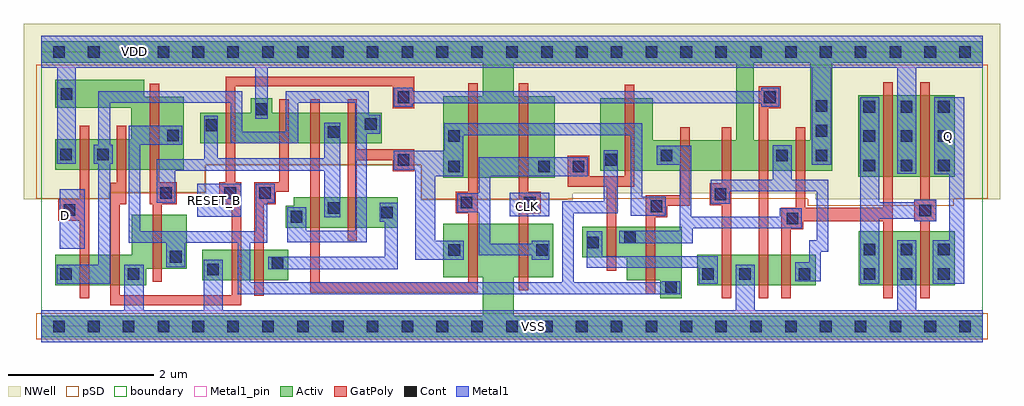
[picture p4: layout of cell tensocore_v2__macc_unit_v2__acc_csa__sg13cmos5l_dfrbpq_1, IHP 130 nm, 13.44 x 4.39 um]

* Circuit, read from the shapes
.subckt tensocore_v2__macc_unit_v2__acc_csa__sg13cmos5l_dfrbpq_1 CLK D Q RESET_B VDD VSS
XM1 n1 D n2 VSS sg13_lv_nmos w=0.42u l=0.13u
XM2 VSS RESET_B n1 VSS sg13_lv_nmos w=0.42u l=0.13u
XM3 n3 n4 VSS VSS sg13_lv_nmos w=0.74u l=0.13u
XM4 n5 RESET_B VSS VSS sg13_lv_nmos w=0.42u l=0.13u
XM5 n6 n3 n5 VSS sg13_lv_nmos w=0.42u l=0.13u
XM6 n4 n7 n2 VSS sg13_lv_nmos w=0.42u l=0.13u
XM7 n6 n8 n4 VSS sg13_lv_nmos w=0.42u l=0.13u
XM8 VSS n7 n8 VSS sg13_lv_nmos w=0.74u l=0.13u
XM9 n7 CLK VSS VSS sg13_lv_nmos w=0.74u l=0.13u
XM10 n9 n7 n10 VSS sg13_lv_nmos w=0.42u l=0.13u
XM11 n3 n8 n9 VSS sg13_lv_nmos w=0.74u l=0.13u
XM12 VSS n11 n10 VSS sg13_lv_nmos w=0.42u l=0.13u
XM13 n12 RESET_B VSS VSS sg13_lv_nmos w=0.42u l=0.13u
XM14 n11 n9 n12 VSS sg13_lv_nmos w=0.42u l=0.13u
XM15 VSS n9 n13 VSS sg13_lv_nmos w=0.74u l=0.13u
XM16 Q n13 VSS VSS sg13_lv_nmos w=0.74u l=0.13u
XM17 n2 D VDD VDD sg13_lv_pmos w=0.42u l=0.13u
XM18 VDD RESET_B n2 VDD sg13_lv_pmos w=0.42u l=0.13u
XM19 n3 n4 VDD VDD sg13_lv_pmos w=1u l=0.13u
XM20 VDD RESET_B n4 VDD sg13_lv_pmos w=0.42u l=0.13u
XM21 n14 n3 VDD VDD sg13_lv_pmos w=0.42u l=0.13u
XM22 n4 n7 n14 VDD sg13_lv_pmos w=0.42u l=0.13u
XM23 n2 n8 n4 VDD sg13_lv_pmos w=0.42u l=0.13u
XM24 VDD n7 n8 VDD sg13_lv_pmos w=1.12u l=0.13u
XM25 n7 CLK VDD VDD sg13_lv_pmos w=1.12u l=0.13u
XM26 n9 n7 n3 VDD sg13_lv_pmos w=1u l=0.13u
XM27 n15 n8 n9 VDD sg13_lv_pmos w=0.42u l=0.13u
XM28 VDD n11 n15 VDD sg13_lv_pmos w=0.42u l=0.13u
XM29 n11 RESET_B VDD VDD sg13_lv_pmos w=0.42u l=0.13u
XM30 VDD n9 n11 VDD sg13_lv_pmos w=0.42u l=0.13u
XM31 VDD n9 n13 VDD sg13_lv_pmos w=1.12u l=0.13u
XM32 Q n13 VDD VDD sg13_lv_pmos w=1.12u l=0.13u
.ends

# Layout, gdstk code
import gdstk
lib = gdstk.Library(unit=1e-6, precision=1e-09)
def R(c, l, rs):  # rectangles x0, y0, x1, y1
    for r in rs: c.add(gdstk.rectangle(r[:2], r[2:], *l))
def A(c, l, x, y, w, h, nx, ny, dx, dy):  # array of equal rectangles
    R(c, l, [(x+i*dx, y+j*dy, x+i*dx+w, y+j*dy+h) for i in range(nx) for j in range(ny)])
def P(c, l, *ps):  # polygons
    for p in ps: c.add(gdstk.Polygon(p, *l))
Activ = (1, 0)
GatPoly = (5, 0)
Cont = (6, 0)
Metal1 = (8, 0)
Metal1_pin = (8, 2)
pSD = (14, 0)
NWell = (31, 0)
boundary = (189, 4)

tensocore_v2__macc_unit_ = lib.new_cell('tensocore_v2__macc_unit_v2__acc_csa__sg13cmos5l_dfrbpq_1')
R(tensocore_v2__macc_unit_, Activ, [(9.03,0.57,10.66,0.99), (11.255,0.57,12.575,1.31), (2.215,0.635,3.4,1.055), (11.25,2.06,12.575,3.18), (0,3.63,12.96,3.93)])
P(tensocore_v2__macc_unit_, Activ, [(0.19,2.16),(0.19,2.58),(1.24,2.58),(1.24,3.01),(0.19,3.01),(0.19,3.395),(1.415,3.395),(1.415,3.16),(1.96,3.16),(1.96,2.16)],
  [(0.19,0.57),(0.19,0.99),(1.245,0.99),(1.245,1.535),(2,1.535),(2,0.795),(1.445,0.795),(1.445,0.57)],
  [(2.19,2.525),(2.19,2.945),(2.88,2.945),(2.88,3.14),(3.18,3.14),(3.18,2.945),(4.685,2.945),(4.685,2.525)],
  [(3.365,1.36),(3.365,1.66),(3.475,1.66),(3.475,1.78),(4.91,1.78),(4.91,1.36)],
  [(5.53,2.05),(5.53,3.17),(6.075,3.17),(6.075,3.63),(6.505,3.63),(6.505,3.17),(7.07,3.17),(7.07,2.05)],
  [(8.52,0.39),(8.52,0.635),(8.06,0.635),(8.06,0.955),(7.445,0.955),(7.445,1.375),(8.82,1.375),(8.82,0.39)],
  [(7.695,2.145),(7.695,3.145),(8.415,3.145),(8.415,2.565),(9.57,2.565),(9.57,3.63),(9.81,3.63),(9.81,2.565),(10.59,2.565),(10.59,3.63),(10.89,3.63),(10.89,2.145)],
  [(0,-0.15),(0,0.15),(6.075,0.15),(6.075,0.675),(5.535,0.675),(5.535,1.415),(7.045,1.415),(7.045,0.675),(6.505,0.675),(6.505,0.15),(12.96,0.15),(12.96,-0.15)])
R(tensocore_v2__macc_unit_, GatPoly, [(12.105,0.39,12.235,3.36), (12.02,1.445,12.32,1.745)])
P(tensocore_v2__macc_unit_, GatPoly, [(8.32,0.445),(8.32,1.805),(8.795,1.805),(8.795,2.745),(8.925,2.745),(8.925,1.66),(8.62,1.66),(8.62,1.505),(8.45,1.505),(8.45,0.445)],
  [(1.53,0.615),(1.53,1.685),(1.49,1.685),(1.49,3.34),(1.62,3.34),(1.62,1.985),(1.865,1.985),(1.865,1.685),(1.66,1.685),(1.66,0.615)],
  [(0.95,0.295),(0.95,1.98),(1.04,1.98),(1.04,2.76),(1.17,2.76),(1.17,1.685),(1.08,1.685),(1.08,0.43),(2.62,0.43),(2.62,1.685),(2.45,1.685),(2.45,1.985),(2.54,1.985),(2.54,3.435),(5.135,3.435),(5.135,3.005),(4.835,3.005),(4.835,3.305),(2.67,3.305),(2.67,1.985),(2.75,1.985),(2.75,0.295)],
  [(2.93,0.425),(2.93,1.985),(3.275,1.985),(3.275,3.125),(3.405,3.125),(3.405,1.855),(3.23,1.855),(3.23,1.685),(3.06,1.685),(3.06,0.425)],
  [(4.215,1.18),(4.215,3.125),(4.345,3.125),(4.345,2.44),(5.135,2.44),(5.135,2.14),(4.835,2.14),(4.835,2.29),(4.345,2.29),(4.345,1.18)],
  [(6.575,0.495),(6.575,3.35),(6.705,3.35),(6.705,1.855),(6.875,1.855),(6.875,1.555),(6.705,1.555),(6.705,0.495)],
  [(7.785,0.765),(7.785,1.92),(7.245,1.92),(7.245,2.35),(7.545,2.35),(7.545,2.07),(8.035,2.07),(8.035,3.325),(8.165,3.325),(8.165,1.92),(7.915,1.92),(7.915,0.765)],
  [(9.37,0.39),(9.37,1.67),(9.2,1.67),(9.2,1.97),(9.37,1.97),(9.37,2.745),(9.5,2.745),(9.5,0.39)],
  [(0.53,0.39),(0.53,1.455),(0.235,1.455),(0.235,1.755),(0.53,1.755),(0.53,2.76),(0.66,2.76),(0.66,0.39)],
  [(3.705,0.465),(3.705,3.125),(3.835,3.125),(3.835,0.605),(5.875,0.605),(5.875,1.555),(5.705,1.555),(5.705,1.855),(5.875,1.855),(5.875,3.35),(6.005,3.35),(6.005,0.465)],
  [(10.19,0.39),(10.19,1.635),(10.39,1.635),(10.39,2.745),(10.52,2.745),(10.52,1.635),(11.595,1.635),(11.595,3.36),(11.725,3.36),(11.725,0.39),(11.595,0.39),(11.595,1.45),(10.49,1.45),(10.49,1.335),(10.32,1.335),(10.32,0.39)],
  [(9.88,0.39),(9.88,3.305),(10.18,3.305),(10.18,3.005),(10.01,3.005),(10.01,0.39)])
A(tensocore_v2__macc_unit_, Cont, 0.16, -0.08, 0.16, 0.16, 27, 2, 0.48, 3.78)
A(tensocore_v2__macc_unit_, Cont, 11.325, 0.64, 0.16, 0.16, 3, 2, 0.51, 0.34)
A(tensocore_v2__macc_unit_, Cont, 11.32, 2.135, 0.16, 0.16, 1, 3, 0, 0.405)
A(tensocore_v2__macc_unit_, Cont, 11.835, 2.135, 0.16, 0.16, 1, 3, 0, 0.405)
A(tensocore_v2__macc_unit_, Cont, 12.345, 2.135, 0.16, 0.16, 1, 3, 0, 0.405)
A(tensocore_v2__macc_unit_, Cont, 10.66, 2.275, 0.16, 0.16, 1, 3, 0, 0.34)
R(tensocore_v2__macc_unit_, Cont, [(8.59,0.465,8.75,0.625), (0.26,0.64,0.42,0.8), (1.19,0.64,1.35,0.8), (9.1,0.64,9.26,0.8), (9.61,0.64,9.77,0.8), (10.43,0.64,10.59,0.8), (2.285,0.705,2.445,0.865), (3.17,0.795,3.33,0.955), (1.77,0.88,1.93,1.04), (5.605,0.97,5.765,1.13), (6.815,0.97,6.975,1.13), (7.515,1.075,7.675,1.235), (8.025,1.145,8.185,1.305), (10.26,1.405,10.42,1.565), (3.435,1.43,3.595,1.59), (4.68,1.49,4.84,1.65), (12.09,1.515,12.25,1.675), (0.305,1.525,0.465,1.685), (3.945,1.55,4.105,1.71), (8.39,1.575,8.55,1.735), (5.775,1.625,5.935,1.785), (6.645,1.625,6.805,1.785), (9.27,1.74,9.43,1.9), (1.635,1.755,1.795,1.915), (2.52,1.755,2.68,1.915), (3,1.755,3.16,1.915), (5.6,2.12,5.76,2.28), (6.84,2.12,7,2.28), (7.315,2.12,7.475,2.28), (4.905,2.21,5.065,2.37), (7.765,2.215,7.925,2.375), (8.525,2.275,8.685,2.435), (10.12,2.275,10.28,2.435), (0.26,2.29,0.42,2.45), (0.77,2.29,0.93,2.45), (5.6,2.54,5.76,2.7), (1.73,2.55,1.89,2.71), (3.945,2.595,4.105,2.755), (2.26,2.69,2.42,2.85), (4.455,2.705,4.615,2.865), (2.95,2.91,3.11,3.07), (4.905,3.075,5.065,3.235), (9.95,3.075,10.11,3.235), (0.265,3.12,0.425,3.28)])
R(tensocore_v2__macc_unit_, Metal1, [(0.255,1.07,0.6,1.89), (2.145,1.51,2.75,1.965), (6.45,1.52,6.99,1.84)])
P(tensocore_v2__macc_unit_, Metal1, [(2.705,0.44),(2.705,1.15),(1.98,1.15),(1.98,0.815),(1.72,0.815),(1.72,1.15),(1.2,1.15),(1.2,2.76),(1.94,2.76),(1.94,2.5),(1.36,2.5),(1.36,1.31),(2.95,1.31),(2.95,1.965),(3.21,1.965),(3.21,1.705),(3.11,1.705),(3.11,1.15),(2.875,1.15),(2.875,0.605),(7.17,0.605),(7.17,1.725),(7.745,1.725),(7.745,2.425),(7.935,2.425),(7.935,1.555),(7.33,1.555),(7.33,0.605),(8.54,0.605),(8.54,0.625),(8.8,0.625),(8.8,0.44)],
  [(3.895,1.5),(3.895,2.145),(1.845,2.145),(1.845,1.705),(1.585,1.705),(1.585,2.305),(2.245,2.305),(2.245,2.9),(2.425,2.9),(2.425,2.315),(3.895,2.315),(3.895,2.805),(4.115,2.805),(4.115,1.5)],
  [(3.12,0.785),(3.12,0.96),(4.725,0.96),(4.725,1.44),(4.66,1.44),(4.66,1.7),(4.905,1.7),(4.905,0.785)],
  [(9.05,0.59),(9.05,0.805),(7.51,0.805),(7.51,1.31),(7.725,1.31),(7.725,0.965),(9.31,0.965),(9.31,0.59)],
  [(7.96,1.145),(7.96,1.315),(8.79,1.315),(8.79,2.225),(8.475,2.225),(8.475,2.485),(8.95,2.485),(8.95,1.51),(10.165,1.51),(10.165,1.625),(10.47,1.625),(10.47,1.35),(8.97,1.35),(8.97,1.145)],
  [(11.785,2.1),(11.785,3.56),(10.875,3.56),(10.875,2.225),(10.61,2.225),(10.61,3.56),(3.115,3.56),(3.115,2.86),(2.945,2.86),(2.945,3.56),(0.475,3.56),(0.475,2.24),(0.215,2.24),(0.215,3.56),(0,3.56),(0,4),(12.96,4),(12.96,3.56),(12.045,3.56),(12.045,2.1)],
  [(5.145,0.92),(5.145,2.16),(4.855,2.16),(4.855,2.42),(5.55,2.42),(5.55,2.8),(8.275,2.8),(8.275,1.785),(8.6,1.785),(8.6,1.525),(8.115,1.525),(8.115,2.63),(5.81,2.63),(5.81,2.07),(5.42,2.07),(5.42,1.18),(5.815,1.18),(5.815,0.92)],
  [(0,-0.22),(0,0.22),(1.14,0.22),(1.14,0.85),(1.41,0.85),(1.41,0.22),(2.235,0.22),(2.235,0.915),(2.495,0.915),(2.495,0.22),(9.56,0.22),(9.56,0.85),(9.82,0.85),(9.82,0.22),(11.785,0.22),(11.785,1.19),(12.045,1.19),(12.045,0.22),(12.96,0.22),(12.96,-0.22)],
  [(0.21,0.59),(0.21,0.85),(0.785,0.85),(0.785,2.24),(0.72,2.24),(0.72,2.5),(0.785,2.5),(0.785,3.24),(2.765,3.24),(2.765,2.68),(3.365,2.68),(3.365,3.24),(4.505,3.24),(4.505,2.915),(4.665,2.915),(4.665,2.655),(4.48,2.655),(4.48,1.16),(3.385,1.16),(3.385,1.64),(3.645,1.64),(3.645,1.32),(4.32,1.32),(4.32,3.08),(3.535,3.08),(3.535,2.52),(2.605,2.52),(2.605,3.08),(0.95,3.08),(0.95,2.5),(0.98,2.5),(0.98,2.24),(0.95,2.24),(0.95,0.59)],
  [(6.755,0.92),(6.755,0.98),(6.02,0.98),(6.02,1.575),(5.725,1.575),(5.725,1.835),(6.02,1.835),(6.02,2.33),(7.525,2.33),(7.525,2.07),(6.18,2.07),(6.18,1.14),(6.755,1.14),(6.755,1.18),(6.99,1.18),(6.99,0.92)],
  [(4.855,3.025),(4.855,3.285),(5.115,3.285),(5.115,3.235),(9.91,3.235),(9.91,3.285),(10.16,3.285),(10.16,3.025),(9.91,3.025),(9.91,3.075),(5.115,3.075),(5.115,3.025)],
  [(12.275,0.59),(12.275,1.19),(12.5,1.19),(12.5,2.095),(12.295,2.095),(12.295,3.155),(12.71,3.155),(12.71,0.59)],
  [(11.275,0.59),(11.275,3.155),(11.535,3.155),(11.535,1.71),(12.02,1.71),(12.02,1.745),(12.32,1.745),(12.32,1.445),(12.02,1.445),(12.02,1.485),(11.535,1.485),(11.535,0.59)],
  [(10.38,0.625),(10.38,0.885),(10.57,0.885),(10.57,1.19),(10.675,1.19),(10.675,1.86),(9.48,1.86),(9.48,1.69),(9.22,1.69),(9.22,2.02),(10.07,2.02),(10.07,2.495),(10.33,2.495),(10.33,2.02),(10.835,2.02),(10.835,1.03),(10.73,1.03),(10.73,0.625)])
R(tensocore_v2__macc_unit_, Metal1_pin, [(0,-0.22,12.96,0.22), (0.255,1.07,0.6,1.89), (2.145,1.51,2.75,1.965), (6.45,1.52,6.99,1.84), (12.295,2.095,12.71,3.155), (0,3.56,12.96,4)])
R(tensocore_v2__macc_unit_, pSD, [(-0.07,-0.18,13.03,0.18)])
P(tensocore_v2__macc_unit_, pSD, [(10.555,1.66),(10.555,1.76),(7.245,1.76),(7.245,1.75),(5.23,1.75),(5.23,2.225),(2.255,2.225),(2.255,1.835),(0.945,1.835),(0.945,1.76),(-0.07,1.76),(-0.07,3.6),(13.03,3.6),(13.03,1.76),(12.56,1.76),(12.56,1.66)])
P(tensocore_v2__macc_unit_, NWell, [(5.22,1.74),(5.22,2.215),(2.27,2.215),(2.27,1.85),(0.935,1.85),(0.935,1.75),(-0.24,1.75),(-0.24,4.17),(13.2,4.17),(13.2,1.75),(10.655,1.75),(10.655,1.835),(7.315,1.835),(7.315,1.74)])
R(tensocore_v2__macc_unit_, boundary, [(0,0,12.96,3.78)])
tensocore_v2__macc_unit_.add(gdstk.Label('RESET_B', (2.385,1.73), layer=8, texttype=25))
tensocore_v2__macc_unit_.add(gdstk.Label('VDD', (1.275,3.78), layer=8, texttype=25))
tensocore_v2__macc_unit_.add(gdstk.Label('Q', (12.49,2.61), layer=8, texttype=25))
tensocore_v2__macc_unit_.add(gdstk.Label('D', (0.325,1.53), layer=8, texttype=25))
tensocore_v2__macc_unit_.add(gdstk.Label('VSS', (6.77,0), layer=8, texttype=25))
tensocore_v2__macc_unit_.add(gdstk.Label('CLK', (6.69,1.655), layer=8, texttype=25))

lib.write_gds('tensocore_v2__macc_unit_v2__acc_csa__sg13cmos5l_dfrbpq_1.gds')
